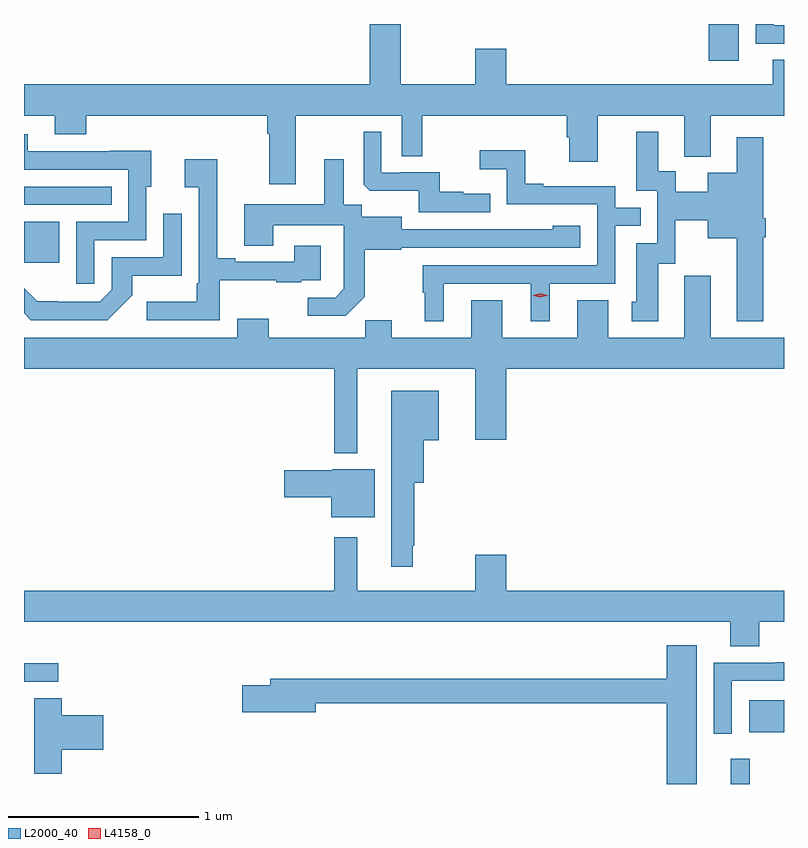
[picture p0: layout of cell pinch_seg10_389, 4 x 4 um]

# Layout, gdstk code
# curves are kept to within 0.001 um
import gdstk
lib = gdstk.Library(unit=1e-6, precision=1e-09)
def R(c, l, rs):  # rectangles x0, y0, x1, y1
    for r in rs: c.add(gdstk.rectangle(r[:2], r[2:], *l))
def P(c, l, *ps):  # polygons
    for p in ps: c.add(gdstk.Polygon(p, *l))
L2000_40 = (2000, 40)
L4158_0 = (4158, 0)

pinch_seg10_389 = lib.new_cell('pinch_seg10_389')
R(pinch_seg10_389, L2000_40, [(633.887,1274.154,633.986,1274.287), (633.983,1274.426,634.166,1274.596), (630.166,1274.691,630.346,1274.79), (630.166,1276.898,630.352,1277.113), (630.166,1277.202,630.629,1277.298), (633.77,1277.961,633.928,1278.154)])
P(pinch_seg10_389, L2000_40, [(634.166,1278.147),(634.113,1278.147),(634.113,1278.154),(634.017,1278.154),(634.017,1278.051),(634.166,1278.051)],
  [(631.597,1277.672),(632.154,1277.672),(632.154,1277.458),(632.263,1277.458),(632.263,1277.672),(633.023,1277.672),(633.023,1277.559),(633.035,1277.559),(633.035,1277.43),(633.187,1277.43),(633.187,1277.672),(633.641,1277.672),(633.641,1277.456),(633.781,1277.456),(633.781,1277.672),(634.166,1277.672),(634.166,1277.966),(634.106,1277.966),(634.106,1277.836),(632.704,1277.836),(632.704,1278.025),(632.54,1278.025),(632.54,1277.836),(632.149,1277.836),(632.149,1278.154),(631.985,1278.154),(631.985,1277.836),(630.166,1277.836),(630.166,1277.672),(630.329,1277.672),(630.329,1277.573),(630.493,1277.573),(630.493,1277.672),(631.445,1277.672),(631.445,1277.576),(631.457,1277.576),(631.457,1277.31),(631.597,1277.31)],
  [(632.621,1277.26),(632.477,1277.26),(632.477,1277.272),(632.354,1277.272),(632.354,1277.373),(632.146,1277.373),(632.146,1277.37),(632.046,1277.37),(632.046,1277.587),(631.953,1277.587),(631.953,1277.307),(631.985,1277.276),(632.244,1277.276),(632.244,1277.163),(632.621,1277.163)],
  [(634.057,1277.031),(634.07,1277.031),(634.07,1277.131),(634.057,1277.131),(634.057,1277.557),(633.917,1277.557),(633.917,1277.371),(633.764,1277.371),(633.764,1277.272),(633.595,1277.272),(633.595,1277.378),(633.505,1277.378),(633.505,1277.587),(633.389,1277.587),(633.389,1277.277),(633.498,1277.277),(633.498,1277.001),(633.389,1277.001),(633.389,1276.692),(633.365,1276.692),(633.365,1276.59),(633.505,1276.59),(633.505,1276.893),(633.594,1276.893),(633.594,1277.12),(633.764,1277.12),(633.764,1277.027),(633.917,1277.027),(633.917,1276.589),(634.057,1276.589)],
  [(630.537,1277.016),(630.81,1277.016),(630.81,1277.298),(630.835,1277.298),(630.835,1277.486),(630.617,1277.486),(630.617,1277.484),(630.187,1277.484),(630.187,1277.575),(630.166,1277.575),(630.166,1277.388),(630.714,1277.388),(630.714,1277.112),(630.441,1277.112),(630.441,1276.788),(630.537,1276.788)],
  [(632.374,1276.788),(632.834,1276.788),(632.834,1276.589),(632.932,1276.589),(632.932,1276.788),(633.279,1276.788),(633.279,1277.091),(633.413,1277.091),(633.413,1277.187),(633.279,1277.187),(633.279,1277.301),(632.899,1277.301),(632.899,1277.314),(632.805,1277.314),(632.805,1277.489),(632.565,1277.489),(632.565,1277.39),(632.706,1277.39),(632.706,1277.205),(633.183,1277.205),(633.183,1276.884),(632.265,1276.884),(632.265,1276.74),(632.276,1276.74),(632.276,1276.589),(632.374,1276.589)],
  [(631.195,1276.805),(631.493,1276.805),(631.493,1276.794),(631.625,1276.794),(631.625,1276.806),(631.729,1276.806),(631.729,1276.987),(631.589,1276.987),(631.589,1276.902),(631.279,1276.902),(631.279,1276.921),(631.183,1276.921),(631.183,1277.443),(631.011,1277.443),(631.011,1277.294),(631.086,1277.294),(631.086,1276.789),(631.074,1276.789),(631.074,1276.693),(630.813,1276.693),(630.813,1276.596),(631.195,1276.596)],
  [(631.959,1276.719),(631.959,1276.965),(632.151,1276.965),(632.151,1276.977),(633.094,1276.977),(633.094,1277.092),(632.949,1277.092),(632.949,1277.074),(632.155,1277.073),(632.155,1277.14),(631.944,1277.14),(631.944,1277.204),(631.849,1277.204),(631.849,1277.443),(631.745,1277.443),(631.745,1277.206),(631.325,1277.206),(631.325,1276.987),(631.477,1276.987),(631.477,1277.096),(631.848,1277.096),(631.848,1276.855),(631.85,1276.855),(631.85,1276.76),(631.803,1276.713),(631.659,1276.713),(631.659,1276.619),(631.859,1276.619)],
  [(630.735,1276.727),(630.735,1276.829),(630.996,1276.829),(630.996,1277.155),(630.9,1277.155),(630.9,1276.926),(630.627,1276.926),(630.627,1276.755),(630.564,1276.692),(630.34,1276.692),(630.34,1276.694),(630.236,1276.694),(630.166,1276.763),(630.166,1276.631),(630.201,1276.596),(630.604,1276.596)],
  [(634.166,1276.504),(633.781,1276.504),(633.781,1276.828),(633.642,1276.828),(633.642,1276.715),(633.641,1276.715),(633.641,1276.504),(633.241,1276.504),(633.241,1276.699),(633.077,1276.699),(633.077,1276.504),(632.683,1276.504),(632.683,1276.699),(632.519,1276.699),(632.519,1276.504),(632.101,1276.504),(632.101,1276.595),(631.963,1276.595),(631.963,1276.504),(631.453,1276.504),(631.453,1276.603),(631.289,1276.603),(631.289,1276.504),(630.166,1276.504),(630.166,1276.34),(631.8,1276.34),(631.8,1275.896),(631.921,1275.896),(631.921,1276.34),(632.54,1276.34),(632.54,1275.966),(632.704,1275.966),(632.704,1276.34),(634.166,1276.34)],
  [(632.213,1275.409),(632.221,1275.409),(632.221,1275.74),(632.27,1275.74),(632.27,1275.962),(632.35,1275.962),(632.35,1276.225),(632.099,1276.225),(632.099,1275.297),(632.213,1275.297)],
  [(632.011,1275.811),(631.788,1275.811),(631.788,1275.806),(631.536,1275.806),(631.536,1275.664),(631.784,1275.664),(631.784,1275.557),(632.011,1275.557)],
  [(634.037,1275.008),(634.166,1275.008),(634.166,1275.172),(632.704,1275.172),(632.704,1275.361),(632.54,1275.361),(632.54,1275.172),(631.921,1275.172),(631.921,1275.454),(631.8,1275.454),(631.8,1275.172),(630.166,1275.172),(630.166,1275.008),(633.884,1275.008),(633.884,1274.878),(634.037,1274.878)],
  [(633.706,1274.884),(633.548,1274.884),(633.548,1274.707),(631.463,1274.707),(631.463,1274.673),(631.314,1274.673),(631.314,1274.531),(631.702,1274.531),(631.702,1274.578),(633.548,1274.578),(633.548,1274.154),(633.706,1274.154)],
  [(633.891,1274.697),(634.166,1274.697),(634.166,1274.795),(634.12,1274.795),(634.12,1274.793),(633.795,1274.793),(633.795,1274.418),(633.891,1274.418)],
  [(630.365,1274.333),(630.583,1274.333),(630.583,1274.516),(630.365,1274.516),(630.365,1274.606),(630.221,1274.606),(630.221,1274.209),(630.365,1274.209)])
P(pinch_seg10_389, L4158_0, [(632.883,1276.716),(632.847,1276.725),(632.847,1276.726),(632.847,1276.726),(632.883,1276.736),(632.919,1276.726),(632.919,1276.726),(632.919,1276.725)])

lib.write_gds('pinch_seg10_389.gds')
